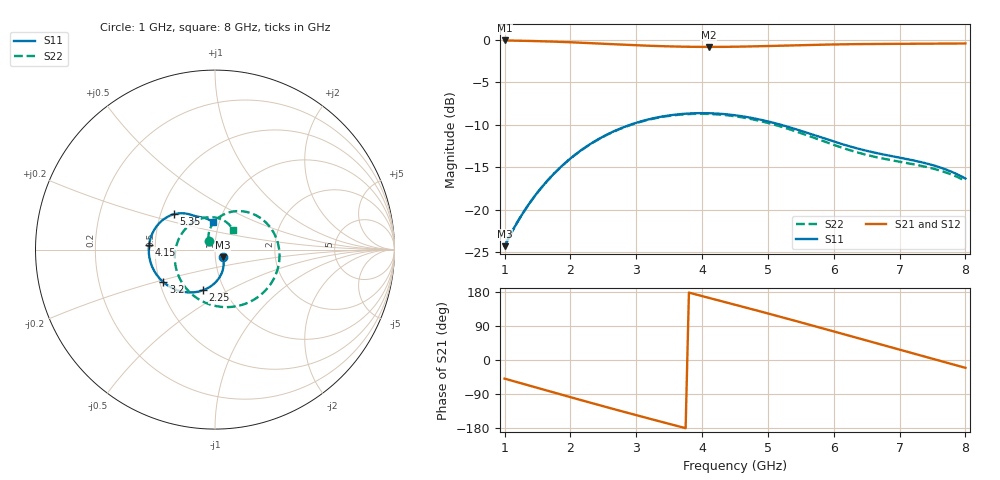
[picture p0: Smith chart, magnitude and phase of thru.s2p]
# GHz S RI R 50
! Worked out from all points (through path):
!   141 points, 1 GHz to 8 GHz, reference 50 ohm
!   highest |S21| = -0.10 dB at 1 GHz (marker M1); lowest = -0.9 dB at 4.1 GHz (marker M2)
!   group delay of S21, straight-line fit = 130 ps
!   lowest |S11| = -24.3 dB at 1 GHz (marker M3), VSWR 1.13, Z = 54.2 - j4.73 ohm
!   |S11| at or under -10 dB: start of sweep to 2.919 GHz; 5.184 GHz to end of sweep
!   |S22| runs from -24.3 to -8.7 dB; largest |S21 - S12| = 0
!   S11 on the Smith chart (normalised r, x): 1 GHz: 1.08, -0.09; 2.25 GHz: 0.80, -0.38; 3.2 GHz: 0.52, -0.21; 4.15 GHz: 0.46, +0.03; 5.35 GHz: 0.58, +0.25; 8 GHz: 0.93, +0.29
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1  0.0426 -0.0434  0.6463 -0.7476  0.6463 -0.7476  -0.0345 0.0501
1.3  0.048 -0.0857  0.4329 -0.883  0.4329 -0.883  -0.0346 0.0918
1.6  0.0352 -0.136  0.1933 -0.9573  0.1933 -0.9573  -0.0154 0.1395
1.9  0.000241 -0.185  -0.0544 -0.9662  -0.0544 -0.9662  0.0266 0.1827
2.2  -0.0553 -0.2219  -0.2915 -0.9116  -0.2915 -0.9116  0.0892 0.21
2.25  -0.0662 -0.2263  -0.3288 -0.8967  -0.3288 -0.8967  0.1011 0.2123
2.75  -0.1869 -0.2332  -0.6483 -0.6743  -0.6483 -0.6743  0.2286 0.1907
3.2  -0.2877 -0.1814  -0.832 -0.3918  -0.832 -0.3918  0.3228 0.1015
3.35  -0.3143 -0.1541  -0.869 -0.2879  -0.869 -0.2879  0.3428 0.06
3.7  -0.3566 -0.0782  -0.9076 -0.0375  -0.9076 -0.0375  0.359 -0.0501
4.1  -0.3684 0.0157  -0.8712 0.2466  -0.8712 0.2466  0.3191 -0.1774
4.15  -0.3672 0.0271  -0.8607 0.2809  -0.8607 0.2809  0.3098 -0.192
4.5  -0.3445 0.0999  -0.7522 0.5082  -0.7522 0.5082  0.2208 -0.2765
4.95  -0.2889 0.1667  -0.5275 0.748  -0.5275 0.748  0.0646 -0.3205
5.35  -0.2308 0.1963  -0.2615 0.8862  -0.2615 0.8862  -0.0778 -0.2842
5.7  -0.1848 0.2026  0.00304 0.9312  0.00304 0.9312  -0.1736 -0.1993
5.95  -0.158 0.2  0.197 0.9145  0.197 0.9145  -0.213 -0.1188
6.25  -0.1329 0.1937  0.4204 0.8401  0.4204 0.8401  -0.2225 -0.0158
6.85  -0.0966 0.1833  0.7771 0.5348  0.7771 0.5348  -0.1326 0.1442
7.15  -0.0784 0.1804  0.8867 0.3249  0.8867 0.3249  -0.0578 0.1774
7.45  -0.057 0.1758  0.9407 0.0946  0.9407 0.0946  0.0152 0.1758
8  -0.0111 0.1518  0.8877 -0.3347  0.8877 -0.3347  0.1001 0.1083
